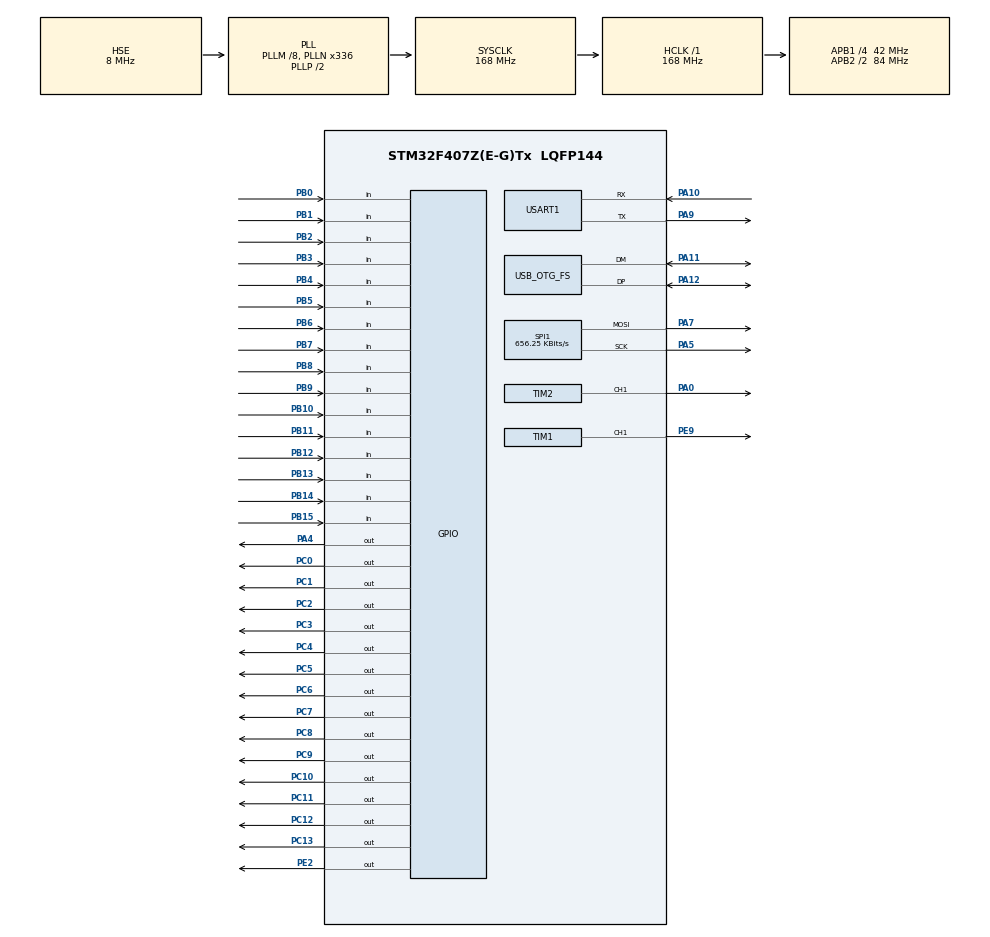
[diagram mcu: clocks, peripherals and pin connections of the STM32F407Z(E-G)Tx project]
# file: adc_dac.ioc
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Dma.Request0=TIM1_UP
Dma.Request1=TIM8_UP
Dma.TIM1_UP.0.Direction=DMA_PERIPH_TO_MEMORY
Dma.TIM1_UP.0.FIFOMode=DMA_FIFOMODE_DISABLE
Dma.TIM1_UP.0.Instance=DMA2_Stream5
Dma.TIM1_UP.0.MemDataAlignment=DMA_MDATAALIGN_HALFWORD
Dma.TIM1_UP.0.MemInc=DMA_MINC_ENABLE
Dma.TIM1_UP.0.Mode=DMA_NORMAL
Dma.TIM1_UP.0.PeriphDataAlignment=DMA_PDATAALIGN_HALFWORD
Dma.TIM1_UP.0.PeriphInc=DMA_PINC_DISABLE
Dma.TIM1_UP.0.Priority=DMA_PRIORITY_LOW
Dma.TIM8_UP.1.Direction=DMA_MEMORY_TO_PERIPH
Dma.TIM8_UP.1.FIFOMode=DMA_FIFOMODE_DISABLE
Dma.TIM8_UP.1.Instance=DMA2_Stream1
Dma.TIM8_UP.1.MemDataAlignment=DMA_MDATAALIGN_HALFWORD
Dma.TIM8_UP.1.MemInc=DMA_MINC_ENABLE
Dma.TIM8_UP.1.Mode=DMA_CIRCULAR
Dma.TIM8_UP.1.PeriphDataAlignment=DMA_PDATAALIGN_HALFWORD
Dma.TIM8_UP.1.PeriphInc=DMA_PINC_DISABLE
Dma.TIM8_UP.1.Priority=DMA_PRIORITY_LOW
Mcu.Family=STM32F4
Mcu.Name=STM32F407Z(E-G)Tx
Mcu.Package=LQFP144
NVIC.DMA2_Stream1_IRQn=true\:0\:0\:false\:false\:true\:false\:true
NVIC.DMA2_Stream5_IRQn=true\:0\:0\:false\:false\:true\:false\:true
NVIC.OTG_FS_IRQn=true\:0\:0\:true\:false\:true\:false\:true
NVIC.PriorityGroup=NVIC_PRIORITYGROUP_4
PA0-WKUP.Signal=S_TIM2_CH1_ETR
PA10.Mode=Asynchronous
PA10.Signal=USART1_RX
PA11.Mode=Device_Only
PA11.Signal=USB_OTG_FS_DM
PA12.Mode=Device_Only
PA12.Signal=USB_OTG_FS_DP
PA13.Mode=Serial_Wire
PA13.Signal=SYS_JTMS-SWDIO
PA14.Mode=Serial_Wire
PA14.Signal=SYS_JTCK-SWCLK
PA4.PinState=GPIO_PIN_SET
PA4.Signal=GPIO_Output
PA5.Mode=TX_Only_Simplex_Unidirect_Master
PA5.Signal=SPI1_SCK
PA7.Mode=TX_Only_Simplex_Unidirect_Master
PA7.Signal=SPI1_MOSI
PA9.Mode=Asynchronous
PA9.Signal=USART1_TX
PB0.Signal=GPIO_Input
PB1.Signal=GPIO_Input
PB10.Signal=GPIO_Input
PB11.Signal=GPIO_Input
PB12.GPIO_PuPd=GPIO_PULLDOWN
PB12.Signal=GPIO_Input
PB13.GPIO_PuPd=GPIO_PULLDOWN
PB13.Signal=GPIO_Input
PB14.GPIO_PuPd=GPIO_PULLDOWN
PB14.Signal=GPIO_Input
PB15.GPIO_PuPd=GPIO_PULLDOWN
PB15.Signal=GPIO_Input
PB2.Signal=GPIO_Input
PB3.Signal=GPIO_Input
PB4.Signal=GPIO_Input
PB5.Signal=GPIO_Input
PB6.Signal=GPIO_Input
PB7.Signal=GPIO_Input
PB8.Signal=GPIO_Input
PB9.Signal=GPIO_Input
PC0.Signal=GPIO_Output
PC1.Signal=GPIO_Output
PC10.Signal=GPIO_Output
PC11.Signal=GPIO_Output
PC12.Signal=GPIO_Output
PC13-ANTI_TAMP.Signal=GPIO_Output
PC2.Signal=GPIO_Output
PC3.Signal=GPIO_Output
PC4.Signal=GPIO_Output
PC5.Signal=GPIO_Output
PC6.Signal=GPIO_Output
PC7.Signal=GPIO_Output
PC8.Signal=GPIO_Output
PC9.Signal=GPIO_Output
PE2.GPIO_PuPd=GPIO_PULLDOWN
PE2.Signal=GPIO_Output
PE9.Signal=S_TIM1_CH1
PH0-OSC_IN.Mode=HSE-External-Oscillator
PH0-OSC_IN.Signal=RCC_OSC_IN
PH1-OSC_OUT.Mode=HSE-External-Oscillator
PH1-OSC_OUT.Signal=RCC_OSC_OUT
ProjectManager.HeapSize=0x200
ProjectManager.StackSize=0x400
ProjectManager.TargetToolchain=STM32CubeIDE
RCC.48MHZClocksFreq_Value=48000000
RCC.AHBFreq_Value=168000000
RCC.APB1CLKDivider=RCC_HCLK_DIV4
RCC.APB1Freq_Value=42000000
RCC.APB1TimFreq_Value=84000000
RCC.APB2CLKDivider=RCC_HCLK_DIV2
RCC.APB2Freq_Value=84000000
RCC.APB2TimFreq_Value=168000000
RCC.CortexFreq_Value=168000000
RCC.HCLKFreq_Value=168000000
RCC.HSE_VALUE=8000000
RCC.HSI_VALUE=16000000
RCC.LSE_VALUE=32768
RCC.PLLM=8
RCC.PLLN=336
RCC.PLLQ=7
RCC.SYSCLKFreq_VALUE=168000000
RCC.SYSCLKSource=RCC_SYSCLKSOURCE_PLLCLK
RCC.VCOOutputFreq_Value=336000000
SH.S_TIM1_CH1.0=TIM1_CH1,PWM Generation1 CH1
SH.S_TIM2_CH1_ETR.0=TIM2_CH1,PWM Generation1 CH1
SPI1.BaudRatePrescaler=SPI_BAUDRATEPRESCALER_128
SPI1.CalculateBaudRate=656.25 KBits/s
SPI1.Direction=SPI_DIRECTION_2LINES
SPI1.Mode=SPI_MODE_MASTER
SPI1.TIMode=SPI_TIMODE_DISABLE
SPI1.VirtualType=VM_MASTER
TIM1.Channel-PWM\ Generation1\ CH1=TIM_CHANNEL_1
TIM1.ClockDivision=TIM_CLOCKDIVISION_DIV2
TIM1.Period=3
TIM1.Prescaler=4
TIM2.AutoReloadPreload=TIM_AUTORELOAD_PRELOAD_DISABLE
TIM2.Channel-PWM\ Generation1\ CH1=TIM_CHANNEL_1
TIM2.ClockDivision=TIM_CLOCKDIVISION_DIV2
TIM2.OCFastMode_PWM-PWM\ Generation1\ CH1=TIM_OCFAST_ENABLE
TIM2.Period=3
TIM2.Prescaler=420
TIM4.Channel-PWM\ Generation1\ No\ Output=TIM_CHANNEL_1
TIM4.ClockDivision=TIM_CLOCKDIVISION_DIV2
TIM4.Period=255
TIM4.Prescaler=420
TIM8.Channel-PWM\ Generation1\ No\ Output=TIM_CHANNEL_1
TIM8.Period=3
TIM8.Prescaler=420
USART1.VirtualMode=VM_ASYNC
USB_DEVICE.CLASS_NAME_FS=CDC
USB_DEVICE.USBD_MAX_STR_DESC_SIZ-CDC_FS=64
USB_DEVICE.VirtualMode-CDC_FS=Cdc
USB_DEVICE.VirtualModeFS=Cdc_FS
USB_OTG_FS.VirtualMode=Device_Only
VP_TIM1_VS_ClockSourceINT.Mode=Internal
VP_TIM2_VS_ClockSourceINT.Mode=Internal
VP_TIM4_VS_ClockSourceINT.Mode=Internal
VP_TIM4_VS_no_output1.Mode=PWM Generation1 No Output
VP_TIM8_VS_no_output1.Mode=PWM Generation1 No Output
VP_USB_DEVICE_VS_USB_DEVICE_CDC_FS.Mode=CDC_FS
board=custom

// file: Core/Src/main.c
/* USER CODE BEGIN Header */
/**
  ******************************************************************************
  * @file           : main.c
  * @brief          : Main program body
  ******************************************************************************
  * @attention
  *
  * <h2><center>&copy; Copyright (c) 2021 STMicroelectronics.
  * All rights reserved.</center></h2>
  *
  * This software component is licensed by ST under BSD 3-Clause license,
  * the "License"; You may not use this file except in compliance with the
  * License. You may obtain a copy of the License at:
  *                        opensource.org/licenses/BSD-3-Clause
  *
  ******************************************************************************
  */
/* USER CODE END Header */
#include "main.h"
#include "usb_device.h"

/* USER CODE BEGIN Includes */
#include <stdio.h>
#include "string.h"
#include "usbd_cdc_if.h"
//#include "usbd_cdc_if.c"
/* USER CODE END Includes */

/* USER CODE BEGIN PD */
#define buf_size 16384 //main buffer size
#define buf_size2 32768 //must be twice bigger than previous
#define buf_size3 16384 //buffer for averaging
#define clk_freq 168000000 //pll out frequency
#define relay_number 20 //number of relay boards in stack
/* USER CODE END PD */

SPI_HandleTypeDef hspi1;

TIM_HandleTypeDef htim1;
TIM_HandleTypeDef htim2;
TIM_HandleTypeDef htim4;
TIM_HandleTypeDef htim8;
DMA_HandleTypeDef hdma_tim1_up;
DMA_HandleTypeDef hdma_tim8_up;

UART_HandleTypeDef huart1;

/* USER CODE BEGIN PV */
char trans_str[8] = {0,};
char message_str[256] = {0,};
uint8_t testDataToSend[8];
uint8_t out_type = 3;
volatile uint16_t adc[buf_size] = {0,};
volatile uint8_t adc_split[buf_size2] = {0,};
volatile uint16_t average[buf_size3] = {0,};
uint8_t relay_bytes[relay_number] = {0,};
//static char array2[1000] __attribute__((section (".ccmram")));

uint16_t temp_counter;

uint32_t adc_samp_freq = 1000000;
uint32_t dac_samp_freq = 5250000;
_Bool relay_state = 0;
_Bool out_mode = 0;
uint8_t average_counter = 0;
uint8_t trig_level = 0;
volatile uint32_t dac[512] = {0,}; /*{8192, 8393, 8593, 8794, 8994, 9194, 9394, 9592, 9790, 9986, 10182, 10376, 10570, 10761, 10951, 11140, 11326,
		11511, 11694, 11875, 12053, 12229, 12403, 12574, 12743, 12909, 13071, 13231, 13388, 13542, 13693, 13840, 13984, 14125, 14261,
		14395, 14524, 14650, 14771, 14889, 15003, 15113, 15218, 15319, 15416, 15509, 15597, 15681, 15760, 15835, 15905, 15970, 16031,
		16087, 16138, 16184, 16226, 16263, 16295, 16322, 16344, 16361, 16374, 16381, 16383, 16381, 16374, 16361, 16344, 16322, 16295,
		16263, 16226, 16184, 16138, 16087, 16031, 15970, 15905, 15835, 15760, 15681, 15597, 15509, 15416, 15319, 15218, 15113, 15003,
		14889, 14771, 14650, 14524, 14395, 14261, 14125, 13984, 13840, 13693, 13542, 13388, 13231, 13071, 12909, 12743, 12574, 12403,
		12229, 12053, 11875, 11694, 11511, 11326, 11140, 10951, 10761, 10570, 10376, 10182, 9986, 9790, 9592, 9394, 9194, 8994, 8794,
		8593, 8393, 8192, 7990, 7790, 7589, 7389, 7189, 6989, 6791, 6593, 6397, 6201, 6007, 5813, 5622, 5432, 5243, 5057, 4872, 4689,
		4508, 4330, 4154, 3980, 3809, 3640, 3474, 3312, 3152, 2995, 2841, 2690, 2543, 2399, 2258, 2122, 1988, 1859, 1733, 1612, 1494,
		1380, 1270, 1165, 1064, 967, 874, 786, 702, 623, 548, 478, 413, 352, 296, 245, 199, 157, 120, 88, 61, 39, 22, 9, 2, 1, 2, 9, 22,
		39, 61, 88, 120, 157, 199, 245, 296, 352, 413, 478, 548, 623, 702, 786, 874, 967, 1064, 1165, 1270, 1380, 1494, 1612, 1733, 1859,
		1988, 2122, 2258, 2399, 2543, 2690, 2841, 2995, 3152, 3312, 3474, 3640, 3809, 3980, 4154, 4330, 4508, 4689, 4872, 5057, 5243,
		5432, 5622, 5813, 6007, 6201, 6397, 6593, 6791, 6989, 7189, 7389, 7589, 7790, 7990};*/ //sin array
volatile uint8_t flag = 1;
volatile uint8_t dac_flag = 1;
_Bool dac_buf_trig = 0;
uint8_t sync_flag = 0;
uint16_t prev_value = 0;
uint16_t current_value = 0;
volatile uint8_t it_on = 1;
char receive_buf[516] = {0};
uint8_t count = 0;
/* USER CODE END PV */

void SystemClock_Config(void);
static void MX_GPIO_Init(void);
static void MX_DMA_Init(void);
static void MX_TIM1_Init(void);
static void MX_USART1_UART_Init(void);
static void MX_TIM2_Init(void);
static void MX_TIM4_Init(void);
static void MX_TIM8_Init(void);
static void MX_SPI1_Init(void);
/* USER CODE BEGIN PFP */
void Delay(uint16_t ticks) {
	for(uint16_t i = 0; i < ticks; i++) {
		__ASM("NOP");
	}
}

_Bool Compare(char* a, char* b) {
	for (int i = 0; i < strlen(b); i++) {
		if (a[i] != b[i]) {
			return 0;
		}
	}
	return 1;
}

uint32_t myAtoi(char* str)
{
	uint32_t res = 0;

    for (int i = 0; str[i] != '\0'; ++i)
        res = res * 10 + str[i] - '0';

    return res;
}

char* cut(char* str, int start, int end) {
	static char outstr[100] = {0};
	for (int i = start; i < end; i++) {
		outstr[i - start] = str[i];
	}
	outstr[end - start] = '\0';
	return outstr;
}

void clear(char* str) {
	for (int i = 0; i < 256; i++) {
		str[i] = 0;
	}
}
/* USER CODE END PFP */

int main(void)
{

  /* MCU Configuration--------------------------------------------------------*/

  /* Reset of all peripherals, Initializes the Flash interface and the Systick. */
  HAL_Init();

  /* Configure the system clock */
  SystemClock_Config();

  /* Initialize all configured peripherals */
  MX_GPIO_Init();
  MX_DMA_Init();
  MX_TIM1_Init();
  MX_USART1_UART_Init();
  MX_USB_DEVICE_Init();
  MX_TIM2_Init();
  MX_TIM4_Init();
  MX_TIM8_Init();
  MX_SPI1_Init();
  /* USER CODE BEGIN 2 */

  for (int i = 0; i < 256; i++) {
	  dac[i] = 8192;
  }

  HAL_GPIO_WritePin(GPIOA, GPIO_PIN_4, GPIO_PIN_RESET);
  HAL_SPI_Transmit(&hspi1, relay_bytes, 20, 1000);
  HAL_GPIO_WritePin(GPIOA, GPIO_PIN_4, GPIO_PIN_SET);

  HAL_TIM_PWM_Start(&htim1, TIM_CHANNEL_1);
  TIM1->PSC = 41;
  TIM1->CCR1=1;

  HAL_TIM_PWM_Start(&htim2, TIM_CHANNEL_1);
  TIM2->PSC = 3;
  TIM2->CCR1=1;

  HAL_TIM_PWM_Start(&htim8, TIM_CHANNEL_1);
  TIM8->PSC = 3;
  TIM8->CCR1=1;
/*
  HAL_TIM_PWM_Start(&htim4, TIM_CHANNEL_1);
  TIM4->PSC = 211;
  TIM1->CCR1=1;*/

  HAL_TIM_Base_Start(&htim1);
  HAL_DMA_Start_IT(&hdma_tim1_up,(uint32_t)&GPIOB->IDR,(uint32_t)adc,buf_size);
  __HAL_TIM_ENABLE_DMA(&htim1, TIM_DMA_UPDATE);

  HAL_TIM_Base_Start(&htim8);
  HAL_DMA_Start_IT(&hdma_tim8_up,(uint32_t)dac,(uint32_t)&GPIOC->ODR,512);
  __HAL_TIM_ENABLE_DMA(&htim8, TIM_DMA_UPDATE);

  //__HAL_TIM_ENABLE(&htim2);
  /* USER CODE END 2 */

  /* Infinite loop */
  /* USER CODE BEGIN WHILE */
  while (1)
  {
	 // count++;
	  //GPIOC->ODR = dac[count];
	  //testDataToSend[0] = 5;
	  //if (dac_flag == 1) {
	  		  //dac_flag = 0;
	  		  //HAL_DMA_Start_IT(&hdma_tim2_up_ch3,(uint32_t)dac, (uint32_t)&GPIOC->ODR, 256);
	  	//  }
	  //CDC_Receive_FS(receive_buf, 6);
	  if ((flag == 1 && (!dac_buf_trig)) || (dac_flag == 1 && dac_buf_trig)) {
		  it_on = 0;
		  flag = 0;
		  dac_flag = 0;
		  if (Compare(receive_buf, "start") || out_mode) {
			  if (out_type == 0) {
					  HAL_Delay(100);
					  for(int i = 0; i < buf_size; i++) {
						  snprintf(trans_str, 7, "%d\n", adc[i]);
						  CDC_Transmit_FS((uint8_t*)trans_str, 8);
						  Delay(10000);
					  }
			  }

			  else if(out_type == 1) {
				  for (int i = 0; i < buf_size; i++) {
					  adc[i] = adc[i]/16;
				  }
				  CDC_Transmit_FS((uint8_t*)adc, buf_size*2);
				  HAL_Delay(200);
			  }

			  else if(out_type == 2) {
				  int start_point = 0;
				  HAL_Delay(100);
				  for (int i = 0; i < buf_size/2; i++) {
					  if (abs(adc[i+1] - adc[i]) > trig_level) {
						  start_point = i;
					  }
				  }
				  for(int i = start_point; i < start_point + buf_size/2; i++) {
					  snprintf(trans_str, 6, "%d\n", adc[i]);
					  CDC_Transmit_FS((uint8_t*)trans_str, 6);
					  Delay(10000);
				  }
			  }

			  else if(out_type == 3) {
				  int start_point = 0;
				  for (int i = 0; i < buf_size/2; i++) {
					  if (abs(adc[i+1] - adc[i]) > trig_level) {
						  start_point = i;
					  }
				  }
				  for(int i = start_point; i < start_point + buf_size/2; i++) {
					  adc[i - start_point] = adc[i]/16;
				  }
				  CDC_Transmit_FS((uint8_t*)adc, buf_size);
				  HAL_Delay(200); // ?

			  }

			  else if(out_type == 4) {
				  for(int i = 0; i < buf_size; i++) {
					  adc_split[i*2] = ((adc[i] & 0xFF00) >> 8);
					  adc_split[i*2 + 1] = ((adc[i] & 0x00FF));

				  }
				  CDC_Transmit_FS((uint8_t*)adc_split, 2*buf_size);
				  HAL_Delay(200);
			  }

			  else if(out_type == 5) {
				  int start_point = 0;
				  for (int i = 0; i < buf_size/2; i++) {
					  if (abs(adc[i+1] - adc[i]) > trig_level) {
						  start_point = i;
					  }
				  }

				  for(int i = start_point; i < start_point + buf_size/2; i++) {
					  adc_split[(i - start_point)*2] = ((adc[i] & 0xFF00) >> 8);
					  adc_split[(i - start_point)*2 + 1] = ((adc[i] & 0x00FF));

				  }
				  CDC_Transmit_FS((uint8_t*)adc_split, buf_size);
				  HAL_Delay(200);
			  }

			  clear(receive_buf);
		  }
		  else if (Compare(receive_buf, "average")) {
			  clear(message_str);
			  snprintf(message_str, 256, "This mode is currently incompatible with set parameters\n");
			  CDC_Transmit_FS((uint8_t*)message_str, 57);
			  clear(message_str);
			  clear(receive_buf);
		  }

		  sync_flag = 1;

		  HAL_DMA_Start_IT(&hdma_tim1_up,(uint32_t)&GPIOB->IDR,(uint32_t)adc,buf_size);
		  it_on = 1;
	  }

	  if (Compare(receive_buf, "load")) {
		  uint16_t temp_index = (uint16_t) myAtoi(cut(receive_buf, 4, 7));
		  uint16_t temp_value = (uint16_t) myAtoi(cut(receive_buf, 8, 13));
		  dac[temp_index] = abs(temp_value - 16383);
		  snprintf(message_str, 256, "Ok %d \n", temp_value);
		  CDC_Transmit_FS((uint8_t*)message_str, 20);
		  clear(receive_buf);
		  clear(message_str);
	  }

	  else if (Compare(receive_buf, "relay_set")) {
		  uint8_t temp_index = (uint8_t) myAtoi(cut(receive_buf, 9, 11));
		  uint8_t temp_value = (uint8_t) myAtoi(cut(receive_buf, 12, 15));
		  relay_bytes[(relay_number - 1) - temp_index] = temp_value;
		  snprintf(message_str, 256, "Ok %d \n", temp_value);
		  CDC_Transmit_FS((uint8_t*)message_str, 20);
		  clear(receive_buf);
		  clear(message_str);
	  }

	  else if (Compare(receive_buf, "relay_load")) {
		  HAL_GPIO_WritePin(GPIOA, GPIO_PIN_4, GPIO_PIN_RESET);
		  HAL_SPI_Transmit(&hspi1, relay_bytes, 20, 1000);
		  HAL_GPIO_WritePin(GPIOA, GPIO_PIN_4, GPIO_PIN_SET);

		  snprintf(message_str, 256, "Ok\n");
		  CDC_Transmit_FS((uint8_t*)message_str, 4);
		  clear(receive_buf);
		  clear(message_str);
	  }

	  else if (Compare(receive_buf, "current_config")) {
		  snprintf(message_str, 256, "ADC sampling frequency: %ld Hz\nDAC sampling frequency: %ld Hz\nOut data format: %d\nOut mode: %d\nTrigger edge level: %d\nRelay: %d\nTrigger by half DMA DAC transfer complete flag: %d\n",
				  adc_samp_freq, dac_samp_freq, out_type, out_mode, trig_level, relay_state, dac_buf_trig);
		  CDC_Transmit_FS((uint8_t*)message_str, 256);
		  clear(receive_buf);
		  clear(message_str);
	  }

	  else if (Compare(receive_buf, "set")) {
		  adc_samp_freq = myAtoi(cut(receive_buf, 3, 11));
		  dac_samp_freq = myAtoi(cut(receive_buf, 12, 20));
		  uint8_t temp_out_type = myAtoi(cut(receive_buf, 21, 22));
		  out_mode = (_Bool)myAtoi(cut(receive_buf, 23, 24));
		  trig_level = (uint8_t)myAtoi(cut(receive_buf, 25, 28));
		  relay_state = (_Bool)myAtoi(cut(receive_buf, 29, 30));
		  dac_buf_trig = (_Bool)myAtoi(cut(receive_buf, 31, 32));
		  if (adc_samp_freq > 42000000 || adc_samp_freq < 641) {
			  adc_samp_freq = 1000000;
			  clear(message_str);
			  snprintf(message_str, 256, "Warning! Invalid ADC sampling frequency. Set to default: %ld \n", adc_samp_freq);
			  CDC_Transmit_FS((uint8_t*)message_str, 70);
			  clear(message_str);
			  HAL_Delay(10);

		  }

		  if (dac_samp_freq > 42000000 || dac_samp_freq < 641) {
			  dac_samp_freq = 100000;
			  clear(message_str);
			  snprintf(message_str, 256, "Warning! Invalid DAC sampling frequency. Set to default: %ld \n", dac_samp_freq);
			  CDC_Transmit_FS((uint8_t*)message_str, 70);
			  clear(message_str);
			  HAL_Delay(10);

		  }

		  if (temp_out_type > 5) {
			  temp_out_type = 3;
			  clear(message_str);
			  snprintf(message_str, 256, "Warning! Invalid out type. Set to default: %d \n", temp_out_type);
			  CDC_Transmit_FS((uint8_t*)message_str, 47);
			  clear(message_str);
			  HAL_Delay(10);
		  }

		  TIM1->PSC = (((clk_freq/4)/adc_samp_freq) - 1);
		  uint16_t dac_presc = (((clk_freq/8)/dac_samp_freq) - 1);
		  TIM2->PSC = dac_presc;
		  TIM8->PSC = dac_presc;
		  out_type = temp_out_type;
		  if (relay_state) {
			  HAL_GPIO_WritePin(GPIOE, GPIO_PIN_2, GPIO_PIN_SET);
		  }
		  else {
			  HAL_GPIO_WritePin(GPIOE, GPIO_PIN_2, GPIO_PIN_RESET);
		  }
		  snprintf(message_str, 256, "Ok\n");
		  CDC_Transmit_FS((uint8_t*)message_str, 4);
		  clear(receive_buf);
		  clear(message_str);

	  }

    /* USER CODE END WHILE */

  }
}

void SystemClock_Config(void)
{
  RCC_OscInitTypeDef RCC_OscInitStruct = {0};
  RCC_ClkInitTypeDef RCC_ClkInitStruct = {0};

  /** Configure the main internal regulator output voltage
  */
  __HAL_RCC_PWR_CLK_ENABLE();
  __HAL_PWR_VOLTAGESCALING_CONFIG(PWR_REGULATOR_VOLTAGE_SCALE1);
  /** Initializes the RCC Oscillators according to the specified parameters
  * in the RCC_OscInitTypeDef structure.
  */
  RCC_OscInitStruct.OscillatorType = RCC_OSCILLATORTYPE_HSE;
  RCC_OscInitStruct.HSEState = RCC_HSE_ON;
  RCC_OscInitStruct.PLL.PLLState = RCC_PLL_ON;
  RCC_OscInitStruct.PLL.PLLSource = RCC_PLLSOURCE_HSE;
  RCC_OscInitStruct.PLL.PLLM = 8;
  RCC_OscInitStruct.PLL.PLLN = 336;
  RCC_OscInitStruct.PLL.PLLP = RCC_PLLP_DIV2;
  RCC_OscInitStruct.PLL.PLLQ = 7;
  if (HAL_RCC_OscConfig(&RCC_OscInitStruct) != HAL_OK)
  {
    Error_Handler();
  }
  /** Initializes the CPU, AHB and APB buses clocks
  */
  RCC_ClkInitStruct.ClockType = RCC_CLOCKTYPE_HCLK|RCC_CLOCKTYPE_SYSCLK
                              |RCC_CLOCKTYPE_PCLK1|RCC_CLOCKTYPE_PCLK2;
  RCC_ClkInitStruct.SYSCLKSource = RCC_SYSCLKSOURCE_PLLCLK;
  RCC_ClkInitStruct.AHBCLKDivider = RCC_SYSCLK_DIV1;
  RCC_ClkInitStruct.APB1CLKDivider = RCC_HCLK_DIV4;
  RCC_ClkInitStruct.APB2CLKDivider = RCC_HCLK_DIV2;

  if (HAL_RCC_ClockConfig(&RCC_ClkInitStruct, FLASH_LATENCY_5) != HAL_OK)
  {
    Error_Handler();
  }
}

static void MX_SPI1_Init(void)
{

  /* SPI1 parameter configuration*/
  hspi1.Instance = SPI1;
  hspi1.Init.Mode = SPI_MODE_MASTER;
  hspi1.Init.Direction = SPI_DIRECTION_2LINES;
  hspi1.Init.DataSize = SPI_DATASIZE_8BIT;
  hspi1.Init.CLKPolarity = SPI_POLARITY_LOW;
  hspi1.Init.CLKPhase = SPI_PHASE_1EDGE;
  hspi1.Init.NSS = SPI_NSS_SOFT;
  hspi1.Init.BaudRatePrescaler = SPI_BAUDRATEPRESCALER_128;
  hspi1.Init.FirstBit = SPI_FIRSTBIT_MSB;
  hspi1.Init.TIMode = SPI_TIMODE_DISABLE;
  hspi1.Init.CRCCalculation = SPI_CRCCALCULATION_DISABLE;
  hspi1.Init.CRCPolynomial = 10;
  if (HAL_SPI_Init(&hspi1) != HAL_OK)
  {
    Error_Handler();
  }

}

static void MX_TIM1_Init(void)
{

  TIM_ClockConfigTypeDef sClockSourceConfig = {0};
  TIM_MasterConfigTypeDef sMasterConfig = {0};
  TIM_OC_InitTypeDef sConfigOC = {0};
  TIM_BreakDeadTimeConfigTypeDef sBreakDeadTimeConfig = {0};

  htim1.Instance = TIM1;
  htim1.Init.Prescaler = 4;
  htim1.Init.CounterMode = TIM_COUNTERMODE_UP;
  htim1.Init.Period = 3;
  htim1.Init.ClockDivision = TIM_CLOCKDIVISION_DIV2;
  htim1.Init.RepetitionCounter = 0;
  htim1.Init.AutoReloadPreload = TIM_AUTORELOAD_PRELOAD_DISABLE;
  if (HAL_TIM_Base_Init(&htim1) != HAL_OK)
  {
    Error_Handler();
  }
  sClockSourceConfig.ClockSource = TIM_CLOCKSOURCE_INTERNAL;
  if (HAL_TIM_ConfigClockSource(&htim1, &sClockSourceConfig) != HAL_OK)
  {
    Error_Handler();
  }
  if (HAL_TIM_PWM_Init(&htim1) != HAL_OK)
  {
    Error_Handler();
  }
  sMasterConfig.MasterOutputTrigger = TIM_TRGO_RESET;
  sMasterConfig.MasterSlaveMode = TIM_MASTERSLAVEMODE_DISABLE;
  if (HAL_TIMEx_MasterConfigSynchronization(&htim1, &sMasterConfig) != HAL_OK)
  {
    Error_Handler();
  }
  sConfigOC.OCMode = TIM_OCMODE_PWM1;
  sConfigOC.Pulse = 0;
  sConfigOC.OCPolarity = TIM_OCPOLARITY_HIGH;
  sConfigOC.OCNPolarity = TIM_OCNPOLARITY_HIGH;
  sConfigOC.OCFastMode = TIM_OCFAST_DISABLE;
  sConfigOC.OCIdleState = TIM_OCIDLESTATE_RESET;
  sConfigOC.OCNIdleState = TIM_OCNIDLESTATE_RESET;
  if (HAL_TIM_PWM_ConfigChannel(&htim1, &sConfigOC, TIM_CHANNEL_1) != HAL_OK)
  {
    Error_Handler();
  }
  sBreakDeadTimeConfig.OffStateRunMode = TIM_OSSR_DISABLE;
  sBreakDeadTimeConfig.OffStateIDLEMode = TIM_OSSI_DISABLE;
  sBreakDeadTimeConfig.LockLevel = TIM_LOCKLEVEL_OFF;
  sBreakDeadTimeConfig.DeadTime = 0;
  sBreakDeadTimeConfig.BreakState = TIM_BREAK_DISABLE;
  sBreakDeadTimeConfig.BreakPolarity = TIM_BREAKPOLARITY_HIGH;
  sBreakDeadTimeConfig.AutomaticOutput = TIM_AUTOMATICOUTPUT_DISABLE;
  if (HAL_TIMEx_ConfigBreakDeadTime(&htim1, &sBreakDeadTimeConfig) != HAL_OK)
  {
    Error_Handler();
  }
  HAL_TIM_MspPostInit(&htim1);

}

static void MX_TIM2_Init(void)
{

  TIM_ClockConfigTypeDef sClockSourceConfig = {0};
  TIM_MasterConfigTypeDef sMasterConfig = {0};
  TIM_OC_InitTypeDef sConfigOC = {0};

  htim2.Instance = TIM2;
  htim2.Init.Prescaler = 420;
  htim2.Init.CounterMode = TIM_COUNTERMODE_UP;
  htim2.Init.Period = 3;
  htim2.Init.ClockDivision = TIM_CLOCKDIVISION_DIV2;
  htim2.Init.AutoReloadPreload = TIM_AUTORELOAD_PRELOAD_DISABLE;
  if (HAL_TIM_Base_Init(&htim2) != HAL_OK)
  {
    Error_Handler();
  }
  sClockSourceConfig.ClockSource = TIM_CLOCKSOURCE_INTERNAL;
  if (HAL_TIM_ConfigClockSource(&htim2, &sClockSourceConfig) != HAL_OK)
  {
    Error_Handler();
  }
  if (HAL_TIM_PWM_Init(&htim2) != HAL_OK)
  {
    Error_Handler();
  }
  sMasterConfig.MasterOutputTrigger = TIM_TRGO_RESET;
  sMasterConfig.MasterSlaveMode = TIM_MASTERSLAVEMODE_DISABLE;
  if (HAL_TIMEx_MasterConfigSynchronization(&htim2, &sMasterConfig) != HAL_OK)
  {
    Error_Handler();
  }
  sConfigOC.OCMode = TIM_OCMODE_PWM1;
  sConfigOC.Pulse = 0;
  sConfigOC.OCPolarity = TIM_OCPOLARITY_HIGH;
  sConfigOC.OCFastMode = TIM_OCFAST_ENABLE;
  if (HAL_TIM_PWM_ConfigChannel(&htim2, &sConfigOC, TIM_CHANNEL_1) != HAL_OK)
  {
    Error_Handler();
  }
  HAL_TIM_MspPostInit(&htim2);

}

static void MX_TIM4_Init(void)
{

  TIM_ClockConfigTypeDef sClockSourceConfig = {0};
  TIM_MasterConfigTypeDef sMasterConfig = {0};
  TIM_OC_InitTypeDef sConfigOC = {0};

  htim4.Instance = TIM4;
  htim4.Init.Prescaler = 420;
  htim4.Init.CounterMode = TIM_COUNTERMODE_UP;
  htim4.Init.Period = 255;
  htim4.Init.ClockDivision = TIM_CLOCKDIVISION_DIV2;
  htim4.Init.AutoReloadPreload = TIM_AUTORELOAD_PRELOAD_DISABLE;
  if (HAL_TIM_Base_Init(&htim4) != HAL_OK)
  {
    Error_Handler();
  }
  sClockSourceConfig.ClockSource = TIM_CLOCKSOURCE_INTERNAL;
  if (HAL_TIM_ConfigClockSource(&htim4, &sClockSourceConfig) != HAL_OK)
  {
    Error_Handler();
  }
  if (HAL_TIM_PWM_Init(&htim4) != HAL_OK)
  {
    Error_Handler();
  }
  sMasterConfig.MasterOutputTrigger = TIM_TRGO_RESET;
  sMasterConfig.MasterSlaveMode = TIM_MASTERSLAVEMODE_DISABLE;
  if (HAL_TIMEx_MasterConfigSynchronization(&htim4, &sMasterConfig) != HAL_OK)
  {
    Error_Handler();
  }
  sConfigOC.OCMode = TIM_OCMODE_PWM1;
  sConfigOC.Pulse = 0;
  sConfigOC.OCPolarity = TIM_OCPOLARITY_HIGH;
  sConfigOC.OCFastMode = TIM_OCFAST_DISABLE;
  if (HAL_TIM_PWM_ConfigChannel(&htim4, &sConfigOC, TIM_CHANNEL_1) != HAL_OK)
  {
    Error_Handler();
  }

}

static void MX_TIM8_Init(void)
{

  TIM_MasterConfigTypeDef sMasterConfig = {0};
  TIM_OC_InitTypeDef sConfigOC = {0};
  TIM_BreakDeadTimeConfigTypeDef sBreakDeadTimeConfig = {0};

  htim8.Instance = TIM8;
  htim8.Init.Prescaler = 420;
  htim8.Init.CounterMode = TIM_COUNTERMODE_UP;
  htim8.Init.Period = 3;
  htim8.Init.ClockDivision = TIM_CLOCKDIVISION_DIV1;
  htim8.Init.RepetitionCounter = 0;
  htim8.Init.AutoReloadPreload = TIM_AUTORELOAD_PRELOAD_DISABLE;
  if (HAL_TIM_PWM_Init(&htim8) != HAL_OK)
  {
    Error_Handler();
  }
  sMasterConfig.MasterOutputTrigger = TIM_TRGO_RESET;
  sMasterConfig.MasterSlaveMode = TIM_MASTERSLAVEMODE_DISABLE;
  if (HAL_TIMEx_MasterConfigSynchronization(&htim8, &sMasterConfig) != HAL_OK)
  {
    Error_Handler();
  }
  sConfigOC.OCMode = TIM_OCMODE_PWM1;
  sConfigOC.Pulse = 0;
  sConfigOC.OCPolarity = TIM_OCPOLARITY_HIGH;
  sConfigOC.OCNPolarity = TIM_OCNPOLARITY_HIGH;
  sConfigOC.OCFastMode = TIM_OCFAST_DISABLE;
  sConfigOC.OCIdleState = TIM_OCIDLESTATE_RESET;
  sConfigOC.OCNIdleState = TIM_OCNIDLESTATE_RESET;
  if (HAL_TIM_PWM_ConfigChannel(&htim8, &sConfigOC, TIM_CHANNEL_1) != HAL_OK)
  {
    Error_Handler();
  }
  sBreakDeadTimeConfig.OffStateRunMode = TIM_OSSR_DISABLE;
  sBreakDeadTimeConfig.OffStateIDLEMode = TIM_OSSI_DISABLE;
  sBreakDeadTimeConfig.LockLevel = TIM_LOCKLEVEL_OFF;
  sBreakDeadTimeConfig.DeadTime = 0;
  sBreakDeadTimeConfig.BreakState = TIM_BREAK_DISABLE;
  sBreakDeadTimeConfig.BreakPolarity = TIM_BREAKPOLARITY_HIGH;
  sBreakDeadTimeConfig.AutomaticOutput = TIM_AUTOMATICOUTPUT_DISABLE;
  if (HAL_TIMEx_ConfigBreakDeadTime(&htim8, &sBreakDeadTimeConfig) != HAL_OK)
  {
    Error_Handler();
  }

}

static void MX_USART1_UART_Init(void)
{

  huart1.Instance = USART1;
  huart1.Init.BaudRate = 115200;
  huart1.Init.WordLength = UART_WORDLENGTH_8B;
  huart1.Init.StopBits = UART_STOPBITS_1;
  huart1.Init.Parity = UART_PARITY_NONE;
  huart1.Init.Mode = UART_MODE_TX_RX;
  huart1.Init.HwFlowCtl = UART_HWCONTROL_NONE;
  huart1.Init.OverSampling = UART_OVERSAMPLING_16;
  if (HAL_UART_Init(&huart1) != HAL_OK)
  {
    Error_Handler();
  }

}

static void MX_DMA_Init(void)
{

  /* DMA controller clock enable */
  __HAL_RCC_DMA2_CLK_ENABLE();

  /* DMA interrupt init */
  /* DMA2_Stream1_IRQn interrupt configuration */
  HAL_NVIC_SetPriority(DMA2_Stream1_IRQn, 0, 0);
  HAL_NVIC_EnableIRQ(DMA2_Stream1_IRQn);
  /* DMA2_Stream5_IRQn interrupt configuration */
  HAL_NVIC_SetPriority(DMA2_Stream5_IRQn, 0, 0);
  HAL_NVIC_EnableIRQ(DMA2_Stream5_IRQn);

}

static void MX_GPIO_Init(void)
{
  GPIO_InitTypeDef GPIO_InitStruct = {0};

  /* GPIO Ports Clock Enable */
  __HAL_RCC_GPIOE_CLK_ENABLE();
  __HAL_RCC_GPIOC_CLK_ENABLE();
  __HAL_RCC_GPIOH_CLK_ENABLE();
  __HAL_RCC_GPIOA_CLK_ENABLE();
  __HAL_RCC_GPIOB_CLK_ENABLE();

  /*Configure GPIO pin Output Level */
  HAL_GPIO_WritePin(GPIOE, GPIO_PIN_2, GPIO_PIN_RESET);

  /*Configure GPIO pin Output Level */
  HAL_GPIO_WritePin(GPIOC, GPIO_PIN_13|GPIO_PIN_0|GPIO_PIN_1|GPIO_PIN_2
                          |GPIO_PIN_3|GPIO_PIN_4|GPIO_PIN_5|GPIO_PIN_6
                          |GPIO_PIN_7|GPIO_PIN_8|GPIO_PIN_9|GPIO_PIN_10
                          |GPIO_PIN_11|GPIO_PIN_12, GPIO_PIN_RESET);

  /*Configure GPIO pin Output Level */
  HAL_GPIO_WritePin(GPIOA, GPIO_PIN_4, GPIO_PIN_SET);

  /*Configure GPIO pin : PE2 */
  GPIO_InitStruct.Pin = GPIO_PIN_2;
  GPIO_InitStruct.Mode = GPIO_MODE_OUTPUT_PP;
  GPIO_InitStruct.Pull = GPIO_PULLDOWN;
  GPIO_InitStruct.Speed = GPIO_SPEED_FREQ_LOW;
  HAL_GPIO_Init(GPIOE, &GPIO_InitStruct);

  /*Configure GPIO pins : PC13 PC0 PC1 PC2
                           PC3 PC4 PC5 PC6
                           PC7 PC8 PC9 PC10
                           PC11 PC12 */
  GPIO_InitStruct.Pin = GPIO_PIN_13|GPIO_PIN_0|GPIO_PIN_1|GPIO_PIN_2
                          |GPIO_PIN_3|GPIO_PIN_4|GPIO_PIN_5|GPIO_PIN_6
                          |GPIO_PIN_7|GPIO_PIN_8|GPIO_PIN_9|GPIO_PIN_10
                          |GPIO_PIN_11|GPIO_PIN_12;
  GPIO_InitStruct.Mode = GPIO_MODE_OUTPUT_PP;
  GPIO_InitStruct.Pull = GPIO_NOPULL;
  GPIO_InitStruct.Speed = GPIO_SPEED_FREQ_LOW;
  HAL_GPIO_Init(GPIOC, &GPIO_InitStruct);

  /*Configure GPIO pin : PA4 */
  GPIO_InitStruct.Pin = GPIO_PIN_4;
  GPIO_InitStruct.Mode = GPIO_MODE_OUTPUT_PP;
  GPIO_InitStruct.Pull = GPIO_NOPULL;
  GPIO_InitStruct.Speed = GPIO_SPEED_FREQ_LOW;
  HAL_GPIO_Init(GPIOA, &GPIO_InitStruct);

  /*Configure GPIO pins : PB0 PB1 PB2 PB10
                           PB11 PB3 PB4 PB5
                           PB6 PB7 PB8 PB9 */
  GPIO_InitStruct.Pin = GPIO_PIN_0|GPIO_PIN_1|GPIO_PIN_2|GPIO_PIN_10
                          |GPIO_PIN_11|GPIO_PIN_3|GPIO_PIN_4|GPIO_PIN_5
                          |GPIO_PIN_6|GPIO_PIN_7|GPIO_PIN_8|GPIO_PIN_9;
  GPIO_InitStruct.Mode = GPIO_MODE_INPUT;
  GPIO_InitStruct.Pull = GPIO_NOPULL;
  HAL_GPIO_Init(GPIOB, &GPIO_InitStruct);

  /*Configure GPIO pins : PB12 PB13 PB14 PB15 */
  GPIO_InitStruct.Pin = GPIO_PIN_12|GPIO_PIN_13|GPIO_PIN_14|GPIO_PIN_15;
  GPIO_InitStruct.Mode = GPIO_MODE_INPUT;
  GPIO_InitStruct.Pull = GPIO_PULLDOWN;
  HAL_GPIO_Init(GPIOB, &GPIO_InitStruct);

}

void Error_Handler(void)
{
  __disable_irq();
  while (1)
  {
  }
}

/************************ (C) COPYRIGHT STMicroelectronics *****END OF FILE****/
